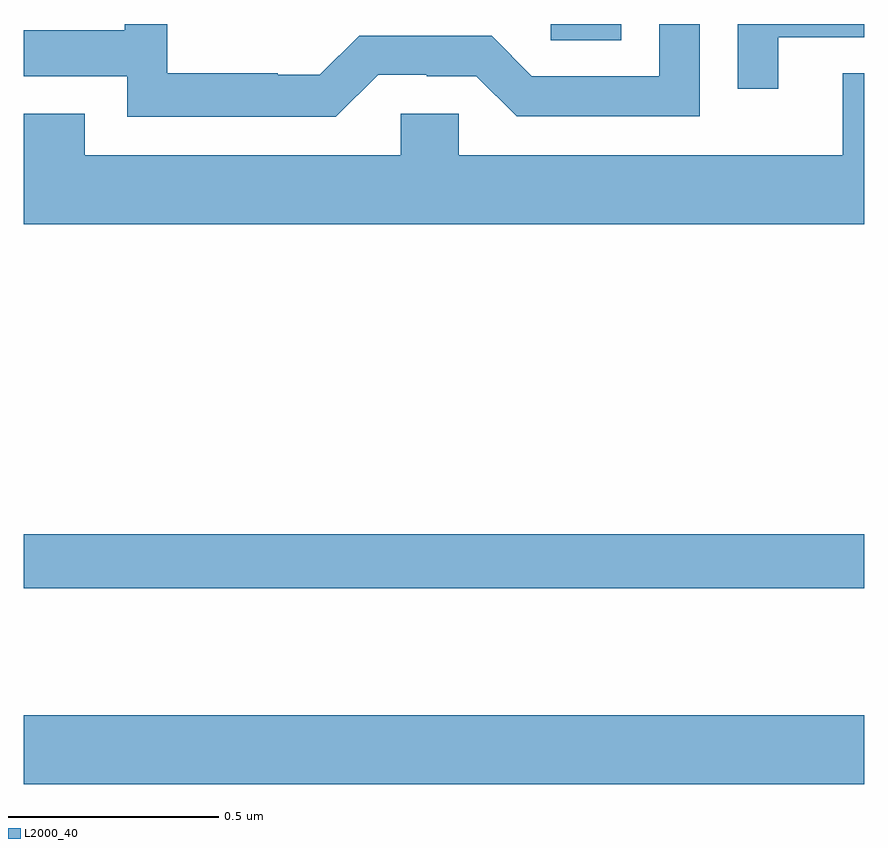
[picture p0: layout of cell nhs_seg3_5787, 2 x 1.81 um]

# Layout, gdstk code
import gdstk
lib = gdstk.Library(unit=1e-6, precision=1e-09)
def R(c, l, rs):  # rectangles x0, y0, x1, y1
    for r in rs: c.add(gdstk.rectangle(r[:2], r[2:], *l))
def P(c, l, *ps):  # polygons
    for p in ps: c.add(gdstk.Polygon(p, *l))
L2000_40 = (2000, 40)

nhs_seg3_5787 = lib.new_cell('nhs_seg3_5787')
R(nhs_seg3_5787, L2000_40, [(183,691.592,185,691.756), (183,692.058,185,692.186), (184.254,693.361,184.422,693.4)])
P(nhs_seg3_5787, L2000_40, [(183.843,693.279),(183.959,693.279),(183.959,693.276),(184.077,693.276),(184.173,693.18),(184.608,693.18),(184.608,693.4),(184.512,693.4),(184.512,693.276),(184.209,693.276),(184.113,693.372),(183.798,693.372),(183.705,693.279),(183.605,693.279),(183.605,693.283),(183.342,693.283),(183.342,693.4),(183.241,693.4),(183.241,693.385),(183,693.385),(183,693.276),(183.246,693.276),(183.246,693.179),(183.743,693.179)],
  [(184.795,693.369),(185,693.369),(185,693.4),(184.699,693.4),(184.699,693.246),(184.795,693.246)],
  [(185,693.283),(184.949,693.283),(184.949,693.088),(184.035,693.088),(184.035,693.186),(183.897,693.186),(183.897,693.088),(183.145,693.088),(183.145,693.187),(183,693.187),(183,692.924),(185,692.924)])

lib.write_gds('nhs_seg3_5787.gds')
